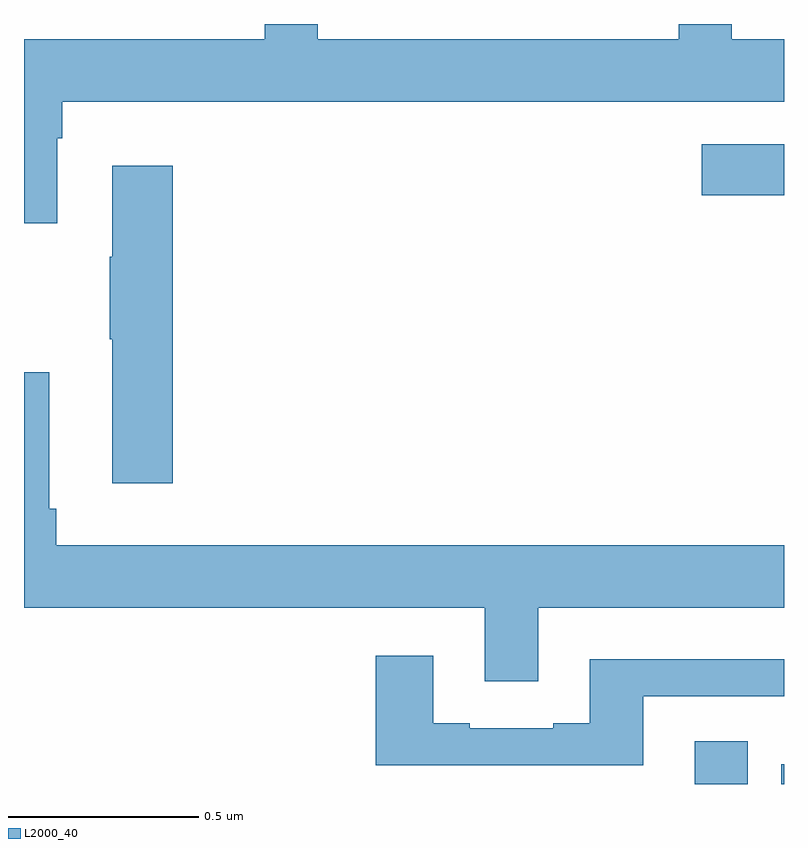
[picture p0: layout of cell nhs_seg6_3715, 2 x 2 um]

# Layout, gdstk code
import gdstk
lib = gdstk.Library(unit=1e-6, precision=1e-09)
def R(c, l, rs):  # rectangles x0, y0, x1, y1
    for r in rs: c.add(gdstk.rectangle(r[:2], r[2:], *l))
def P(c, l, *ps):  # polygons
    for p in ps: c.add(gdstk.Polygon(p, *l))
L2000_40 = (2000, 40)

nhs_seg6_3715 = lib.new_cell('nhs_seg6_3715')
R(nhs_seg6_3715, L2000_40, [(161.765,985.5,161.905,985.612), (161.993,985.5,162,985.552), (161.784,987.05,162,987.184)])
P(nhs_seg6_3715, L2000_40, [(160.087,987.2),(160.1,987.2),(160.1,987.296),(162,987.296),(162,987.46),(161.863,987.46),(161.863,987.5),(161.723,987.5),(161.723,987.46),(160.773,987.46),(160.773,987.5),(160.634,987.5),(160.634,987.46),(160,987.46),(160,986.976),(160.087,986.976)],
  [(160.391,987.127),(160.232,987.127),(160.232,986.888),(160.225,986.888),(160.225,986.671),(160.232,986.671),(160.232,986.292),(160.391,986.292)],
  [(161.353,985.964),(162,985.964),(162,986.128),(160.085,986.128),(160.085,986.224),(160.066,986.224),(160.066,986.584),(160,986.584),(160,985.964),(161.213,985.964),(161.213,985.77),(161.353,985.77)],
  [(161.629,985.731),(162,985.731),(162,985.828),(161.489,985.828),(161.489,985.66),(161.393,985.66),(161.393,985.647),(161.173,985.647),(161.173,985.66),(161.077,985.66),(161.077,985.837),(160.925,985.837),(160.925,985.55),(161.629,985.55)])

lib.write_gds('nhs_seg6_3715.gds')
